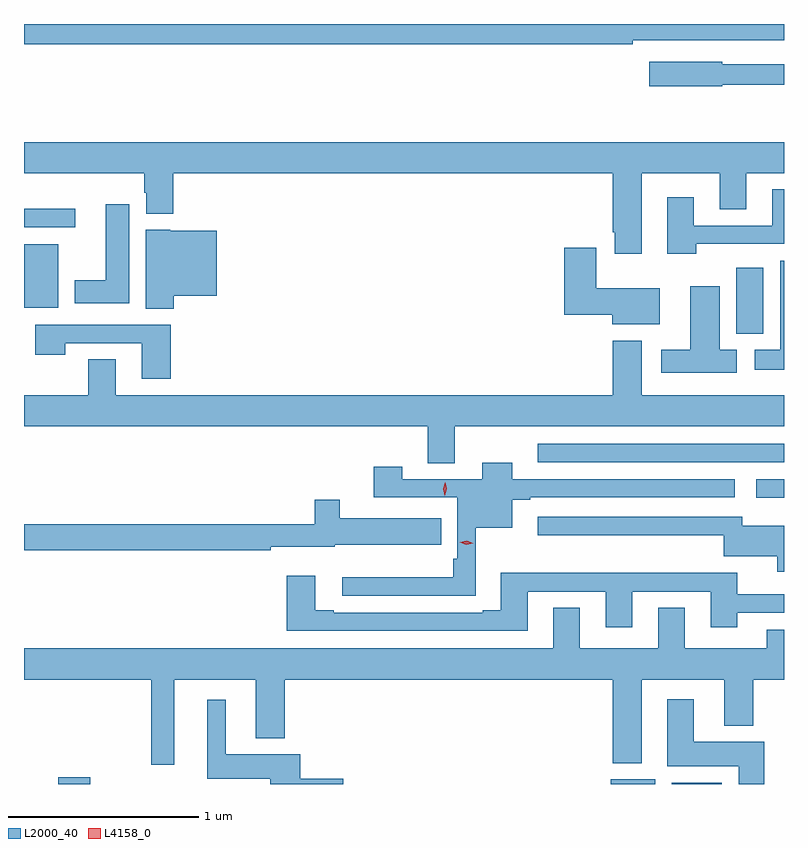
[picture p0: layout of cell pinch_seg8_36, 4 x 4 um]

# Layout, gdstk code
import gdstk
lib = gdstk.Library(unit=1e-6, precision=1e-09)
def R(c, l, rs):  # rectangles x0, y0, x1, y1
    for r in rs: c.add(gdstk.rectangle(r[:2], r[2:], *l))
def P(c, l, *ps):  # polygons
    for p in ps: c.add(gdstk.Polygon(p, *l))
L2000_40 = (2000, 40)
L4158_0 = (4158, 0)

pinch_seg8_36 = lib.new_cell('pinch_seg8_36')
R(pinch_seg8_36, L2000_40, [(925.016,1153.246,925.186,1153.282), (927.926,1153.246,928.159,1153.27), (928.247,1153.246,928.51,1153.252), (928.692,1154.753,928.837,1154.85), (927.54,1154.94,928.837,1155.036), (928.586,1155.617,928.729,1155.964), (924.837,1155.752,925.018,1156.087), (924.837,1156.176,925.108,1156.274)])
P(pinch_seg8_36, L2000_40, [(928.04,1157.16),(928.837,1157.16),(928.837,1157.246),(924.837,1157.246),(924.837,1157.14),(928.04,1157.14)],
  [(928.512,1156.926),(928.837,1156.926),(928.837,1157.034),(928.512,1157.034),(928.512,1157.047),(928.128,1157.047),(928.128,1156.918),(928.512,1156.918)],
  [(928.087,1156.46),(928.499,1156.46),(928.499,1156.27),(928.639,1156.27),(928.639,1156.46),(928.837,1156.46),(928.837,1156.624),(924.837,1156.624),(924.837,1156.46),(925.469,1156.46),(925.469,1156.359),(925.481,1156.359),(925.481,1156.247),(925.622,1156.247),(925.622,1156.46),(927.935,1156.46),(927.935,1156.15),(927.947,1156.15),(927.947,1156.038),(928.087,1156.038)],
  [(928.376,1156.089),(928.837,1156.089),(928.837,1156.375),(928.775,1156.375),(928.775,1156.185),(928.363,1156.185),(928.363,1156.333),(928.223,1156.333),(928.223,1156.038),(928.376,1156.038)],
  [(925.39,1156.297),(925.268,1156.297),(925.268,1155.898),(925.103,1155.898),(925.103,1155.776),(925.39,1155.776)],
  [(925.625,1155.815),(925.852,1155.815),(925.852,1156.159),(925.608,1156.159),(925.608,1156.162),(925.478,1156.162),(925.478,1155.748),(925.625,1155.748)],
  [(928.183,1155.856),(927.85,1155.856),(927.85,1156.069),(927.68,1156.069),(927.68,1155.716),(927.932,1155.716),(927.932,1155.665),(928.183,1155.665)],
  [(928.837,1155.999),(928.818,1155.999),(928.818,1155.532),(928.683,1155.532),(928.683,1155.425),(928.837,1155.425)],
  [(928.588,1155.532),(928.498,1155.532),(928.498,1155.865),(928.343,1155.865),(928.343,1155.532),(928.191,1155.532),(928.191,1155.41),(928.588,1155.41)],
  [(925.61,1155.663),(924.897,1155.663),(924.897,1155.504),(925.053,1155.504),(925.053,1155.567),(925.457,1155.567),(925.457,1155.378),(925.61,1155.378)],
  [(927.103,1155.128),(928.837,1155.128),(928.837,1155.292),(928.087,1155.292),(928.087,1155.58),(927.935,1155.58),(927.935,1155.292),(925.321,1155.292),(925.321,1155.482),(925.174,1155.482),(925.174,1155.292),(924.837,1155.292),(924.837,1155.128),(926.963,1155.128),(926.963,1154.935),(927.103,1154.935)],
  [(927.214,1154.594),(927.406,1154.594),(927.406,1154.742),(927.502,1154.742),(927.502,1154.754),(928.579,1154.754),(928.579,1154.85),(927.406,1154.85),(927.406,1154.938),(927.248,1154.938),(927.248,1154.85),(926.827,1154.85),(926.827,1154.917),(926.679,1154.917),(926.679,1154.754),(927.117,1154.754),(927.117,1154.431),(927.097,1154.431),(927.097,1154.335),(926.511,1154.335),(926.511,1154.238),(927.214,1154.238)],
  [(926.135,1154.495),(926.472,1154.495),(926.472,1154.504),(927.032,1154.504),(927.032,1154.644),(926.5,1154.644),(926.5,1154.743),(926.366,1154.743),(926.366,1154.612),(924.837,1154.612),(924.837,1154.476),(926.135,1154.476)],
  [(928.837,1154.605),(928.617,1154.605),(928.617,1154.652),(927.54,1154.652),(927.54,1154.555),(928.521,1154.555),(928.521,1154.444),(928.802,1154.444),(928.802,1154.364),(928.837,1154.364)],
  [(927.487,1154.259),(927.899,1154.259),(927.899,1154.07),(928.039,1154.07),(928.039,1154.259),(928.451,1154.259),(928.451,1154.07),(928.591,1154.07),(928.591,1154.148),(928.837,1154.148),(928.837,1154.244),(928.591,1154.244),(928.591,1154.357),(927.347,1154.357),(927.347,1154.161),(927.251,1154.161),(927.251,1154.148),(926.467,1154.148),(926.467,1154.161),(926.371,1154.161),(926.371,1154.341),(926.219,1154.341),(926.219,1154.052),(927.487,1154.052)],
  [(925.627,1153.796),(926.057,1153.796),(926.057,1153.487),(926.21,1153.487),(926.21,1153.796),(927.935,1153.796),(927.935,1153.355),(928.087,1153.355),(928.087,1153.796),(928.523,1153.796),(928.523,1153.553),(928.676,1153.553),(928.676,1153.796),(928.837,1153.796),(928.837,1154.059),(928.745,1154.059),(928.745,1153.96),(928.315,1153.96),(928.315,1154.174),(928.175,1154.174),(928.175,1153.96),(927.763,1153.96),(927.763,1154.174),(927.623,1154.174),(927.623,1153.96),(924.837,1153.96),(924.837,1153.796),(925.506,1153.796),(925.506,1153.347),(925.627,1153.347)],
  [(928.733,1153.468),(928.363,1153.468),(928.363,1153.693),(928.223,1153.693),(928.223,1153.34),(928.598,1153.34),(928.598,1153.246),(928.733,1153.246)],
  [(926.518,1153.273),(926.291,1153.273),(926.291,1153.402),(925.9,1153.402),(925.9,1153.69),(925.802,1153.69),(925.802,1153.274),(926.132,1153.274),(926.132,1153.246),(926.518,1153.246)])
P(pinch_seg8_36, L4158_0, [(927.165,1154.506),(927.13,1154.518),(927.13,1154.518),(927.13,1154.518),(927.166,1154.526),(927.201,1154.513),(927.202,1154.513),(927.201,1154.513)],
  [(927.052,1154.763),(927.052,1154.764),(927.043,1154.799),(927.053,1154.835),(927.054,1154.835),(927.054,1154.835),(927.063,1154.799),(927.052,1154.764)])

lib.write_gds('pinch_seg8_36.gds')
